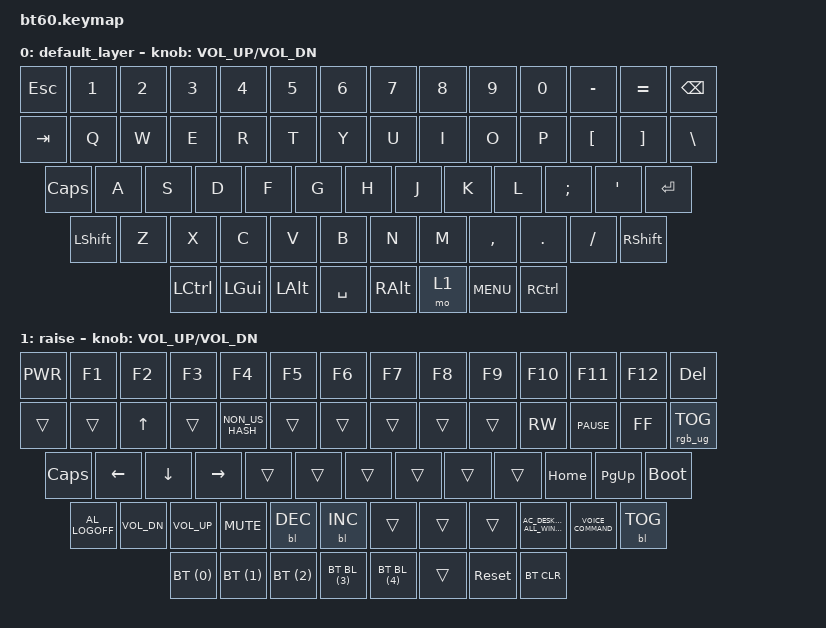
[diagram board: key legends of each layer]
#include <behaviors.dtsi>
#include <dt-bindings/zmk/keys.h>
#include <dt-bindings/zmk/bt.h>
#include <dt-bindings/zmk/rgb.h>
#include <dt-bindings/zmk/backlight.h>

/ {
	keymap {
		compatible = "zmk,keymap";

		default_layer {
				// ------------------------------------------------------------------------------------------
				// |  `  |  1  |  2  |  3  |  4  |  5  |  6  |  7  |  8  |  9  |  0  |  -  |  =  |   BKSP
				// | TAB  |  Q  |  W  |  E  |  R  |  T  |  Y  |  U  |  I  |  O  |  P  |  [  |  ]  |   |
				// | CAPS  |  A  |  S  |  D  |  F  |  G  |  H  |  J  |  K  |  L  |  ;  |  '  |     ENTER
				// |  SHIFT    |  Z  |  X  |  C  |  V  |  B  |  N  |  M  |  ,  |  .  | /   |      SHIFT
				// |  CTL  |  WIN  |  ALT  |            SPACE               | ALT | 1    |  MENU    |  CTRL
				// ------------------------------------------------------------------------------------------
			bindings = <

				&kp ESC &kp N1 &kp N2 &kp N3 &kp N4 &kp N5 &kp N6 &kp N7 &kp  N8   &kp  N9 &kp  N0  &kp MINUS &kp EQUAL &kp BSPC
				&kp TAB  &kp Q  &kp W  &kp E  &kp R  &kp T  &kp Y  &kp U  &kp  I    &kp  O  &kp  P   &kp LBKT &kp RBKT   &kp BSLH
				&kp CAPS  &kp A  &kp S  &kp D  &kp F  &kp G  &kp H  &kp J  &kp  K    &kp  L  &kp SEMI &kp SQT            &kp RET
				&kp LSHFT  &kp Z  &kp X  &kp C  &kp V  &kp B  &kp N  &kp M  &kp COMMA &kp DOT &kp FSLH                   &kp RSHFT
				&kp LCTRL &kp LGUI &kp LALT            &kp SPACE                          &kp RALT  &mo 1 &kp C_MENU    &kp RCTRL
			>;
			sensor-bindings = <&inc_dec_kp C_VOL_UP C_VOL_DN>;
		};
		raise {
			bindings = <
				&kp C_PWR &kp F1 &kp F2 &kp F3 &kp F4 &kp F5 &kp F6 &kp F7 &kp F8 &kp F9 &kp F10 &kp F11 &kp F12 &kp DEL
				&trans &trans &kp UP &trans &kp NON_US_HASH &trans &trans &trans &trans &trans &kp C_RW &kp C_PAUSE &kp C_FF &rgb_ug RGB_TOG
				&kp CAPS    &kp LEFT &kp DOWN &kp RIGHT &trans &trans &trans &trans &trans &trans &kp HOME  &kp PG_UP   &bootloader
				&kp C_AL_LOGOFF &kp C_VOL_DN &kp C_VOL_UP &kp C_MUTE &bl BL_DEC &bl BL_INC &trans &trans &trans &kp C_AC_DESKTOP_SHOW_ALL_WINDOWS &kp VOICE_COMMAND  &bl BL_TOG
				&bt BT_SEL(0) &bt BT_SEL(1)  &bt BT_SEL(2)              &bt BL_SEL(3)               &bt BL_SEL(4)   &trans   &sys_reset &bt BT_CLR
			>;
			sensor-bindings = <&inc_dec_kp C_VOL_UP C_VOL_DN>;
		};
	};
};
